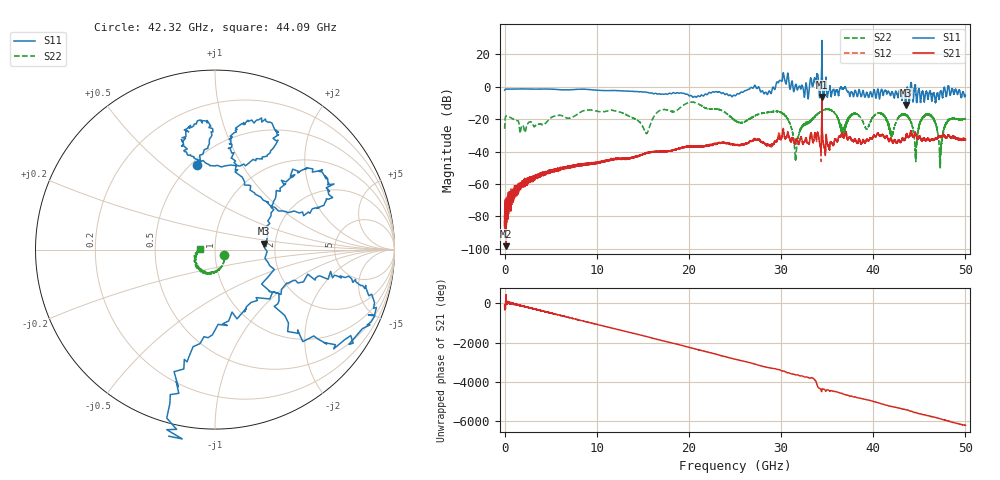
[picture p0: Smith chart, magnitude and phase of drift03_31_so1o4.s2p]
!Created with skrf (http://scikit-rf.org).
# Hz S RI R 50.0
!freq ReS11 ImS11 ReS21 ImS21 ReS12 ImS12 ReS22 ImS22
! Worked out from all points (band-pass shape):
!   10000 points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, 5.3 MHz to 50 GHz, reference 50 ohm
!   highest |S21| = -6.27 dB at 34.43 GHz (marker M1); lowest = -98.4 dB at 165.3 MHz (marker M2)
!   |S21| within 3 dB of the highest: 34.42763 GHz to 34.43448 GHz (6.847 MHz wide, 0.0199 % of centre)
!   lowest |S11| = -11.2 dB at 43.52 GHz (marker M3), VSWR 1.76, Z = 87.4 + j6.42 ohm
!   |S11| at or under -10 dB: 43.49317 GHz to 43.53942 GHz (46.26 MHz wide, 0.106 % of centre)
!   |S22| runs from -51.0 to -9.4 dB; largest |S21 - S12| = 0.14
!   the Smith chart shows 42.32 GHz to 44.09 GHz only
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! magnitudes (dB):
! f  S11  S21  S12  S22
! 5.3 MHz  -2.1  -86.9  -82.4  -25.9
! 165.3 MHz  -1.4  -98.4  -75.9  -18.1
! 2.455 GHz  -1.4  -58.7  -60.5  -23.5
! 8.34 GHz  -1.5  -48.0  -47.8  -15.3
! 15.39 GHz  -3.5  -40.9  -40.9  -28.7
! 16.67 GHz  -4.4  -40.3  -40.2  -15.3
! 20.46 GHz  -6.5  -37.0  -36.8  -9.5
! 25.01 GHz  -5.5  -36.2  -35.9  -20.9
! 29.96 GHz  3.9  -32.5  -32.1  -15.8
! 31.6 GHz  1.5  -33.6  -33.9  -43.7
! 33.34 GHz  2.5  -30.0  -30.6  -20.2
! 34.43 GHz  28.6  -6.3  -8.3  -14.6
! 36.69 GHz  -1.4  -29.6  -29.7  -25.3
! 37.95 GHz  -3.8  -32.8  -32.8  -16.3
! 41.67 GHz  -3.0  -33.5  -33.4  -23.3
! 43.52 GHz  -11.2  -31.6  -31.4  -17.7
! 44.61 GHz  -1.3  -29.0  -29.1  -43.7
! 45.33 GHz  -2.9  -33.0  -33.1  -19.4
! 46.3 GHz  -6.7  -32.6  -32.7  -18.2
! 47.29 GHz  -3.2  -30.9  -30.8  -48.0
! 48.16 GHz  0.5  -30.0  -29.6  -20.5
! 50 GHz  -5.2  -32.9  -32.7  -19.7
